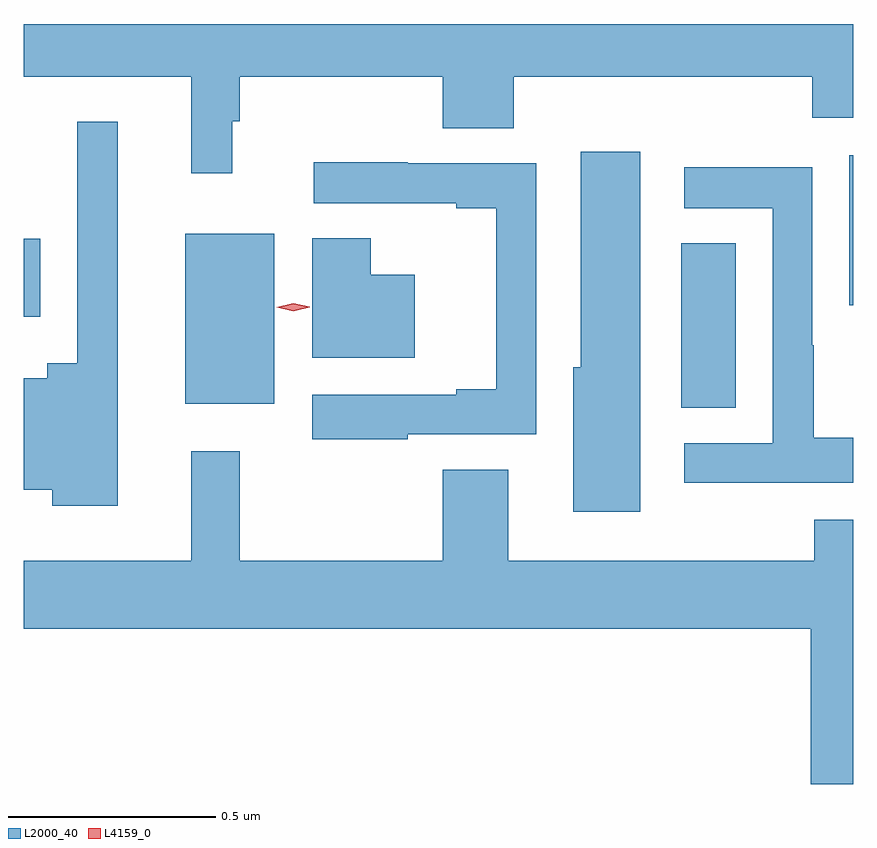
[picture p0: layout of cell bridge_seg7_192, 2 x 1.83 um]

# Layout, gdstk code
import gdstk
lib = gdstk.Library(unit=1e-6, precision=1e-09)
def R(c, l, rs):  # rectangles x0, y0, x1, y1
    for r in rs: c.add(gdstk.rectangle(r[:2], r[2:], *l))
def P(c, l, *ps):  # polygons
    for p in ps: c.add(gdstk.Polygon(p, *l))
L2000_40 = (2000, 40)
L4159_0 = (4159, 0)

bridge_seg7_192 = lib.new_cell('bridge_seg7_192')
R(bridge_seg7_192, L2000_40, [(464.396,1010.473,464.527,1010.87), (463.199,1010.483,463.414,1010.893), (462.81,1010.693,462.85,1010.881), (464.801,1010.721,464.81,1011.082)])
P(bridge_seg7_192, L2000_40, [(463.313,1011.164),(463.331,1011.164),(463.331,1011.272),(463.82,1011.272),(463.82,1011.148),(463.991,1011.148),(463.991,1011.272),(464.711,1011.272),(464.711,1011.173),(464.81,1011.173),(464.81,1011.399),(462.81,1011.399),(462.81,1011.272),(463.214,1011.272),(463.214,1011.039),(463.313,1011.039)],
  [(463.036,1011.163),(462.939,1011.163),(462.939,1010.581),(462.866,1010.581),(462.866,1010.545),(462.81,1010.545),(462.81,1010.276),(462.878,1010.276),(462.878,1010.237),(463.036,1010.237)],
  [(464.296,1011.091),(464.153,1011.091),(464.153,1010.571),(464.135,1010.571),(464.135,1010.223),(464.296,1010.223)],
  [(463.736,1010.409),(464.046,1010.409),(464.046,1011.063),(463.736,1011.063),(463.736,1011.065),(463.509,1011.065),(463.509,1010.967),(463.853,1010.967),(463.853,1010.955),(463.949,1010.955),(463.949,1010.518),(463.853,1010.518),(463.853,1010.505),(463.506,1010.505),(463.506,1010.397),(463.736,1010.397)],
  [(464.81,1010.401),(464.715,1010.401),(464.715,1010.624),(464.712,1010.624),(464.712,1011.054),(464.403,1011.054),(464.403,1010.955),(464.616,1010.955),(464.616,1010.388),(464.403,1010.388),(464.403,1010.292),(464.81,1010.292)],
  [(463.753,1010.794),(463.647,1010.794),(463.647,1010.882),(463.505,1010.882),(463.505,1010.594),(463.753,1010.594)],
  [(464.81,1010.203),(464.716,1010.203),(464.716,1010.104),(463.978,1010.104),(463.978,1010.324),(463.82,1010.324),(463.82,1010.104),(463.331,1010.104),(463.331,1010.368),(463.214,1010.368),(463.214,1010.104),(462.81,1010.104),(462.81,1009.94),(464.708,1009.94),(464.708,1009.566),(464.81,1009.566)])
P(bridge_seg7_192, L4159_0, [(463.46,1010.706),(463.42,1010.716),(463.42,1010.716),(463.42,1010.716),(463.46,1010.726),(463.499,1010.717),(463.5,1010.716),(463.499,1010.716)])

lib.write_gds('bridge_seg7_192.gds')
